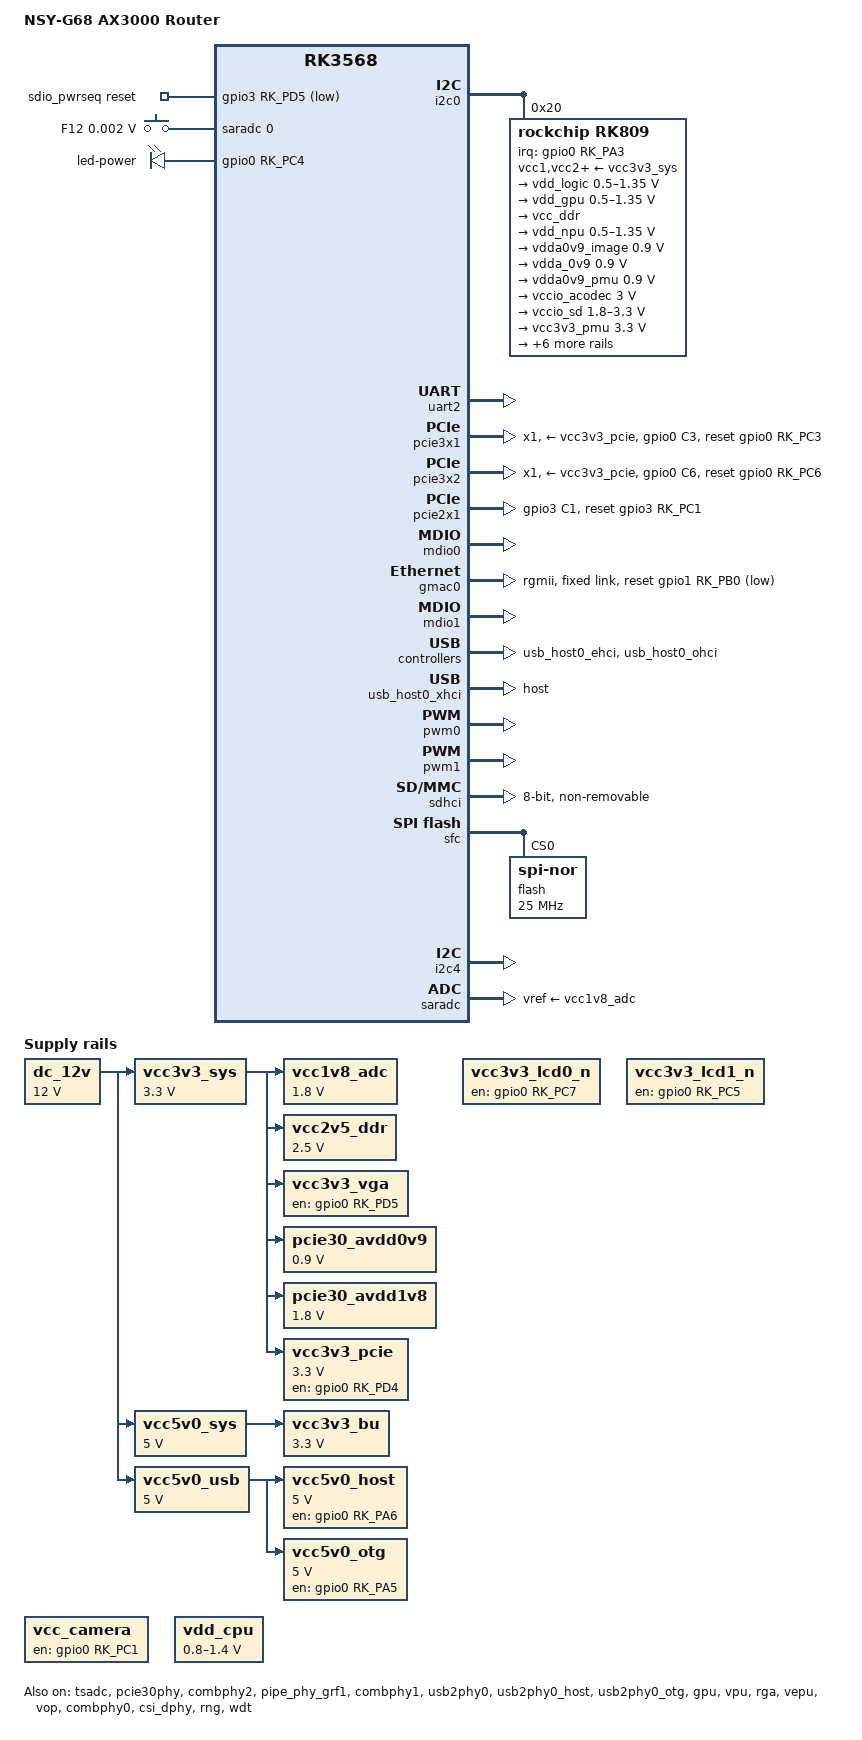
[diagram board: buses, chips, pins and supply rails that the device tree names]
// SPDX-License-Identifier: (GPL-2.0+ OR MIT)

/dts-v1/;

#include <dt-bindings/gpio/gpio.h>
#include <dt-bindings/pwm/pwm.h>
#include <dt-bindings/leds/common.h>
#include <dt-bindings/input/input.h>
#include <dt-bindings/soc/rockchip,vop2.h>
#include <dt-bindings/pinctrl/rockchip.h>
#include "rk3568.dtsi"

/ {
	model = "NSY-G68 AX3000 Router";
	compatible = "nsy,g68-plus", "rockchip,rk3568";

	aliases {
		ethernet0 = &gmac0;
		ethernet1 = &gmac1;
		mmc0 = &sdhci;
	};

	chosen: chosen {
		stdout-path = "serial2:1500000n8";
	};

	fiq-debugger {
		compatible = "rockchip,fiq-debugger";
		rockchip,serial-id = <2>;
		rockchip,wake-irq = <0>;
		/* If enable uart uses irq instead of fiq */
		rockchip,irq-mode-enable = <1>;
		rockchip,baudrate = <1500000>;  /* Only 115200 and 1500000 */
		interrupts = <GIC_SPI 252 IRQ_TYPE_LEVEL_LOW>;
		pinctrl-names = "default";
		pinctrl-0 = <&uart2m0_xfer>;
		status = "okay";
	};

	debug: debug@fd904000 {
		compatible = "rockchip,debug";
		reg = <0x0 0xfd904000 0x0 0x1000>,
			<0x0 0xfd905000 0x0 0x1000>,
			<0x0 0xfd906000 0x0 0x1000>,
			<0x0 0xfd907000 0x0 0x1000>;
	};

	dc_12v: dc-12v {
		compatible = "regulator-fixed";
		regulator-name = "dc_12v";
		regulator-always-on;
		regulator-boot-on;
		regulator-min-microvolt = <12000000>;
		regulator-max-microvolt = <12000000>;
	};

	vcc3v3_sys: vcc3v3-sys {
		compatible = "regulator-fixed";
		regulator-name = "vcc3v3_sys";
		regulator-always-on;
		regulator-boot-on;
		regulator-min-microvolt = <3300000>;
		regulator-max-microvolt = <3300000>;
		vin-supply = <&dc_12v>;
	};

	vcc5v0_sys: vcc5v0-sys {
		compatible = "regulator-fixed";
		regulator-name = "vcc5v0_sys";
		regulator-always-on;
		regulator-boot-on;
		regulator-min-microvolt = <5000000>;
		regulator-max-microvolt = <5000000>;
		vin-supply = <&dc_12v>;
	};

	vcc5v0_usb: vcc5v0-usb {
		compatible = "regulator-fixed";
		regulator-name = "vcc5v0_usb";
		regulator-always-on;
		regulator-boot-on;
		regulator-min-microvolt = <5000000>;
		regulator-max-microvolt = <5000000>;
		vin-supply = <&dc_12v>;
	};

	vcc5v0_host: vcc5v0-host-regulator {
		compatible = "regulator-fixed";
		regulator-name = "vcc5v0_host";
		regulator-boot-on;
		regulator-always-on;
		regulator-min-microvolt = <5000000>;
		regulator-max-microvolt = <5000000>;
		enable-active-high;
		gpio = <&gpio0 RK_PA6 GPIO_ACTIVE_HIGH>;
		vin-supply = <&vcc5v0_usb>;
		pinctrl-names = "default";
		pinctrl-0 = <&vcc5v0_host_en>;
	};

	vcc5v0_otg: vcc5v0-otg-regulator {
		compatible = "regulator-fixed";
		regulator-name = "vcc5v0_otg";
		regulator-min-microvolt = <5000000>;
		regulator-max-microvolt = <5000000>;
		enable-active-high;
		regulator-boot-on;
		regulator-always-on;
		gpio = <&gpio0 RK_PA5 GPIO_ACTIVE_HIGH>;
		vin-supply = <&vcc5v0_usb>;
		pinctrl-names = "default";
		pinctrl-0 = <&vcc5v0_otg_en>;
	};

	vcc3v3_lcd0_n: vcc3v3-lcd0-n {
		compatible = "regulator-fixed";
		regulator-name = "vcc3v3_lcd0_n";
		regulator-boot-on;
		gpio = <&gpio0 RK_PC7 GPIO_ACTIVE_HIGH>;
		enable-active-high;
		pinctrl-0 = <&vcc3v3_lcd0_n_en>;
		pinctrl-names = "default";
		regulator-state-mem {
			regulator-off-in-suspend;
		};

	};

	vcc3v3_lcd1_n: vcc3v3-lcd1-n {
		compatible = "regulator-fixed";
		regulator-name = "vcc3v3_lcd1_n";
		regulator-boot-on;
		gpio = <&gpio0 RK_PC5 GPIO_ACTIVE_HIGH>;
		enable-active-high;
		pinctrl-0 = <&vcc3v3_lcd1_n_en>;
		pinctrl-names = "default";
		regulator-state-mem {
			regulator-off-in-suspend;
		};

	};

	sdio_pwrseq: sdio-pwrseq {
		compatible = "mmc-pwrseq-simple";
		clocks = <&rk809 1>;
		clock-names = "ext_clock";
		pinctrl-names = "default";
		pinctrl-0 = <&wifi_enable_h>;
		post-power-on-delay-ms = <200>;
		reset-gpios = <&gpio3 RK_PD5 GPIO_ACTIVE_LOW>;
	};

	vcc1v8_adc: vcc1v8-adc {
		compatible = "regulator-fixed";
		regulator-name = "vcc1v8_adc";
		regulator-always-on;
		regulator-boot-on;
		regulator-min-microvolt = <1800000>;
		regulator-max-microvolt = <1800000>;
		vin-supply = <&vcc3v3_sys>;
	};

	vcc2v5_ddr: vcc2v5-ddr {
		compatible = "regulator-fixed";
		regulator-name = "vcc2v5-sys";
		regulator-always-on;
		regulator-boot-on;
		regulator-min-microvolt = <2500000>;
		regulator-max-microvolt = <2500000>;
		vin-supply = <&vcc3v3_sys>;
	};

	vcc3v3_vga: vcc3v3-vga {
		compatible = "regulator-fixed";
		regulator-name = "vcc3v3_vga";
		regulator-always-on;
		regulator-boot-on;
		gpio = <&gpio0 RK_PD5 GPIO_ACTIVE_HIGH>;
		pinctrl-0 = <&vcc3v3_vga_en>;
		pinctrl-names = "default";
		enable-active-high;
		vin-supply = <&vcc3v3_sys>;
	};

	pcie30_avdd0v9: pcie30-avdd0v9 {
		compatible = "regulator-fixed";
		regulator-name = "pcie30_avdd0v9";
		regulator-always-on;
		regulator-boot-on;
		regulator-min-microvolt = <900000>;
		regulator-max-microvolt = <900000>;
		vin-supply = <&vcc3v3_sys>;
	};

	pcie30_avdd1v8: pcie30-avdd1v8 {
		compatible = "regulator-fixed";
		regulator-name = "pcie30_avdd1v8";
		regulator-always-on;
		regulator-boot-on;
		regulator-min-microvolt = <1800000>;
		regulator-max-microvolt = <1800000>;
		vin-supply = <&vcc3v3_sys>;
	};

	vcc3v3_pcie: vcc3v3-pcie {
		compatible = "regulator-fixed";
		regulator-name = "vcc3v3_pcie";
		regulator-always-on;
		regulator-boot-on;
		regulator-min-microvolt = <3300000>;
		regulator-max-microvolt = <3300000>;
		enable-active-high;
		gpio = <&gpio0 RK_PD4 GPIO_ACTIVE_HIGH>;
		pinctrl-0 = <&vcc3v3_pcie_en>;
		pinctrl-names = "default";
		startup-delay-us = <5000>;
		vin-supply = <&vcc3v3_sys>;
	};

	vcc3v3_bu: c3v3_buvcc3v3-bu {
		compatible = "regulator-fixed";
		regulator-name = "vcc3v3_bu";
		regulator-always-on;
		regulator-boot-on;
		regulator-min-microvolt = <3300000>;
		regulator-max-microvolt = <3300000>;
		vin-supply = <&vcc5v0_sys>;
	};

	vcc_camera: vcc-camera-regulator {
		compatible = "regulator-fixed";
		gpio = <&gpio0 RK_PC1 GPIO_ACTIVE_HIGH>;
		pinctrl-names = "default";
		pinctrl-0 = <&camera_pwr>;
		regulator-name = "vcc_camera";
		enable-active-high;
		regulator-always-on;
		regulator-boot-on;
	};

	vdd_cpu: vdd-cpu {
		compatible = "pwm-regulator";
		rockchip,pwm_id = <0>;
		rockchip,pwm_voltage = <900000>;
		pwms = <&pwm0 0 25000 1>;
		regulator-name = "vdd_cpu";
		regulator-min-microvolt = <800000>;
		regulator-max-microvolt = <1400000>;
		regulator-init-microvolt = <1150000>;
		regulator-enable-ramp-delay = <300>;
		regulator-ramp-delay = <8000>;
		regulator-always-on;
		regulator-boot-on;
	};

	xpcs: syscon@fda00000 {
		compatible = "rockchip,rk3568-xpcs", "syscon";
		reg = <0x0 0xfda00000 0x0 0x200000>;
		status = "disabled";
	};

	gmac0_xpcsclk: xpcs-gmac0-clock {
		compatible = "fixed-clock";
		clock-frequency = <125000000>;
		clock-output-names = "clk_gmac0_xpcs_mii";
		#clock-cells = <0>;
	};

	gmac1_xpcsclk: xpcs-gmac1-clock {
		compatible = "fixed-clock";
		clock-frequency = <125000000>;
		clock-output-names = "clk_gmac1_xpcs_mii";
		#clock-cells = <0>;
	};

	adc_keys: adc-keys {
		compatible = "adc-keys";
		io-channels = <&saradc 0>;
		io-channel-names = "buttons";
		keyup-threshold-microvolt = <1800000>;
		poll-interval = <100>;
		status = "okay";
		recovery-key {
			label = "F12";
			linux,code = <KEY_F12>;
			press-threshold-microvolt = <1750>;
		};
	};

	leds {
		compatible = "gpio-leds";
		led-power {
			label = "led-power";
			default-state = "on";
			gpios = <&gpio0 RK_PC4 GPIO_ACTIVE_HIGH>;
			pinctrl-names = "default";
			pinctrl-0 = <&led_power_en>;
		};
	};

	rtlgsw@0 {
		compatible = "realtek,rtl8367s";
		realtek,mdio = <&mdio0>;
		mii-bus = <&mdio0>;
		realtek,id = <29>;
		phy-id = <29>;
		cpu_port = <7>;

		//txdelay, rxdelay, mode, ability.force_mode, ability.txpause, ability.rxpause, ability.link, ability.duplex, speed
		//sgmii,
		realtek,extif1 = <0 0 11 1 1 1 1 1 2>;
		//rgmii
		realtek,extif2 = <0 0 1 1 1 1 1 1 2>;
		status = "okay";
	};
};

&i2c0 {

	status = "okay";

	rk809: pmic@20 {
		compatible = "rockchip,rk809";
		reg = <0x20>;
		interrupt-parent = <&gpio0>;
		interrupts = <RK_PA3 IRQ_TYPE_LEVEL_LOW>;
		pinctrl-names = "default", "pmic-sleep", "pmic-power-off", "pmic-reset";
		pinctrl-0 = <&pmic_int>;
		pinctrl-1 = <&soc_slppin_slp &rk817_slppin_slp>;
		pinctrl-2 = <&soc_slppin_gpio &rk817_slppin_pwrdn>;
		pinctrl-3 = <&soc_slppin_gpio &rk817_slppin_rst>;
		rockchip,system-power-controller;
		wakeup-source;
		#clock-cells = <1>;
		clock-output-names = "rk808-clkout1\0rk808-clkout2";
		pmic-reset-func = <0>;
		not-save-power-en = <1>;
		vcc1-supply = <&vcc3v3_sys>;
		vcc2-supply = <&vcc3v3_sys>;
		vcc3-supply = <&vcc3v3_sys>;
		vcc4-supply = <&vcc3v3_sys>;
		vcc5-supply = <&vcc3v3_sys>;
		vcc6-supply = <&vcc3v3_sys>;
		vcc7-supply = <&vcc3v3_sys>;
		vcc8-supply = <&vcc3v3_sys>;
		vcc9-supply = <&vcc3v3_sys>;

		pwrkey {
			status = "okay";
		};

		pinctrl_rk8xx: pinctrl_rk8xx {
			gpio-controller;
			#gpio-cells = <2>;

			rk817_slppin_null: rk817_slppin_null {
				pins = "gpio_slp";
				function = "pin_fun0";
			};

			rk817_slppin_slp: rk817_slppin_slp {
				pins = "gpio_slp";
				function = "pin_fun1";
			};

			rk817_slppin_pwrdn: rk817_slppin_pwrdn {
				pins = "gpio_slp";
				function = "pin_fun2";
			};

			rk817_slppin_rst: rk817_slppin_rst {
				pins = "gpio_slp";
				function = "pin_fun3";
			};
		};

		regulators {

			vdd_logic: DCDC_REG1 {
				regulator-always-on;
				regulator-boot-on;
				regulator-min-microvolt = <500000>;
				regulator-max-microvolt = <1350000>;
				regulator-init-microvolt = <900000>;
				regulator-ramp-delay = <6001>;
				regulator-initial-mode = <2>;
				regulator-name = "vdd_logic";

				regulator-state-mem {
					regulator-off-in-suspend;
				};
			};

			vdd_gpu: DCDC_REG2 {
				regulator-always-on;
				regulator-boot-on;
				regulator-min-microvolt = <500000>;
				regulator-max-microvolt = <1350000>;
				regulator-init-microvolt = <1000000>;
				regulator-ramp-delay = <6001>;
				regulator-initial-mode = <2>;
				regulator-name = "vdd_gpu";

				regulator-state-mem {
					regulator-off-in-suspend;
				};
			};

			vcc_ddr: DCDC_REG3 {
				regulator-always-on;
				regulator-boot-on;
				regulator-initial-mode = <2>;
				regulator-name = "vcc_ddr";

				regulator-state-mem {
					regulator-on-in-suspend;
				};
			};

			vdd_npu: DCDC_REG4 {
				regulator-always-on;
				regulator-boot-on;
				regulator-min-microvolt = <500000>;
				regulator-max-microvolt = <1350000>;
				regulator-init-microvolt = <1000000>;
				regulator-ramp-delay = <6001>;
				regulator-initial-mode = <2>;
				regulator-name = "vdd_npu";

				regulator-state-mem {
					regulator-off-in-suspend;
				};
			};

			vdda0v9_image: LDO_REG1 {
				regulator-boot-on;
				regulator-always-on;
				regulator-min-microvolt = <900000>;
				regulator-max-microvolt = <900000>;
				regulator-name = "vdda0v9_image";

				regulator-state-mem {
					regulator-off-in-suspend;
				};
			};

			vdda_0v9: LDO_REG2 {
				regulator-always-on;
				regulator-boot-on;
				regulator-min-microvolt = <900000>;
				regulator-max-microvolt = <900000>;
				regulator-name = "vdda_0v9";

				regulator-state-mem {
					regulator-off-in-suspend;
				};
			};

			vdda0v9_pmu: LDO_REG3 {
				regulator-always-on;
				regulator-boot-on;
				regulator-min-microvolt = <900000>;
				regulator-max-microvolt = <900000>;
				regulator-name = "vdda0v9_pmu";

				regulator-state-mem {
					regulator-on-in-suspend;
					regulator-suspend-microvolt = <900000>;
				};
			};

			vccio_acodec: LDO_REG4 {
				regulator-always-on;
				regulator-boot-on;
				regulator-min-microvolt = <3000000>;
				regulator-max-microvolt = <3000000>;
				regulator-name = "vccio_acodec";

				regulator-state-mem {
					regulator-off-in-suspend;
				};
			};

			vccio_sd: LDO_REG5 {
				regulator-always-on;
				regulator-boot-on;
				regulator-min-microvolt = <1800000>;
				regulator-max-microvolt = <3300000>;
				regulator-name = "vccio_sd";

				regulator-state-mem {
					regulator-off-in-suspend;
				};
			};

			vcc3v3_pmu: LDO_REG6 {
				regulator-always-on;
				regulator-boot-on;
				regulator-min-microvolt = <3300000>;
				regulator-max-microvolt = <3300000>;
				regulator-name = "vcc3v3_pmu";

				regulator-state-mem {
					regulator-on-in-suspend;
					regulator-suspend-microvolt = <3300000>;
				};
			};

			vcca_1v8: LDO_REG7 {
				regulator-always-on;
				regulator-boot-on;
				regulator-min-microvolt = <1800000>;
				regulator-max-microvolt = <1800000>;
				regulator-name = "vcca_1v8";

				regulator-state-mem {
					regulator-off-in-suspend;
				};
			};

			vcca1v8_pmu: LDO_REG8 {
				regulator-always-on;
				regulator-boot-on;
				regulator-min-microvolt = <1800000>;
				regulator-max-microvolt = <1800000>;
				regulator-name = "vcca1v8_pmu";

				regulator-state-mem {
					regulator-on-in-suspend;
					regulator-suspend-microvolt = <1800000>;
				};
			};

			vcca1v8_image: LDO_REG9 {
				regulator-always-on;
				regulator-boot-on;
				regulator-min-microvolt = <1800000>;
				regulator-max-microvolt = <1800000>;
				regulator-name = "vcca1v8_image";

				regulator-state-mem {
					regulator-off-in-suspend;
				};
			};

			vcc_1v8: DCDC_REG5 {
				regulator-always-on;
				regulator-boot-on;
				regulator-min-microvolt = <1800000>;
				regulator-max-microvolt = <1800000>;
				regulator-name = "vcc_1v8";

				regulator-state-mem {
					regulator-off-in-suspend;
				};
			};

			vcc_3v3: SWITCH_REG1 {
				regulator-always-on;
				regulator-boot-on;
				regulator-name = "vcc_3v3";

				regulator-state-mem {
					regulator-off-in-suspend;
				};
			};

			vcc3v3_sd: SWITCH_REG2 {
				regulator-always-on;
				regulator-boot-on;
				regulator-name = "vcc3v3_sd";

				regulator-state-mem {
					regulator-off-in-suspend;
				};
			};
		};
	};
};

&pinctrl {
	usb {
		vcc5v0_host_en: vcc5v0-host-en {
			rockchip,pins = <0 RK_PA6 RK_FUNC_GPIO &pcfg_pull_none>;
		};
		
		vcc5v0_otg_en: vcc5v0-otg-en {
			rockchip,pins = <0 RK_PA5 RK_FUNC_GPIO &pcfg_pull_none>;
		};
	};

	regulator-en {
		vcc3v3_lcd0_n_en: vcc3v3-lcd0-n-en {
			rockchip,pins = <0 RK_PC7 RK_FUNC_GPIO &pcfg_pull_none>;
		};
		vcc3v3_lcd1_n_en: vcc3v3-lcd1-n-en {
			rockchip,pins = <0 RK_PC5 RK_FUNC_GPIO &pcfg_pull_none>;
		};
		vcc3v3_vga_en: vcc3v3-vga-en {
			rockchip,pins = <0 RK_PD5 RK_FUNC_GPIO &pcfg_pull_none>;
		};
		camera_pwr: camera-pwr {
			rockchip,pins = <0 RK_PC1 RK_FUNC_GPIO &pcfg_pull_none>;
		};
		vcc3v3_pcie_en: vcc3v3-pcie-en {
			rockchip,pins = <0 RK_PD4 RK_FUNC_GPIO &pcfg_pull_none>;
		};
	};

	sdio-pwrseq {
		wifi_enable_h: wifi-enable-h {
			rockchip,pins = <3 RK_PD5 RK_FUNC_GPIO &pcfg_pull_none>;
		};
	};

	pmic {
	
		pmic_int: pmic-intl {
			rockchip,pins = <0 RK_PA3 RK_FUNC_GPIO &pcfg_pull_up>;
		};
	
		soc_slppin_gpio: soc-slppin-gpio {
			rockchip,pins = <0 RK_PA2 0 &pcfg_output_low>;
		};
	
		soc_slppin_slp:soc-slppin-slp {
			rockchip,pins = <0 RK_PA2 1 &pcfg_pull_none>;
		};
	
		soc_slppin_rst {
			rockchip,pins = <0 RK_PA2 2 &pcfg_pull_none>;
		};
	};

	pcie {
		pcie30x1_reset_h: pcie30x1-reset-h {
			rockchip,pins = <0 RK_PC3 RK_FUNC_GPIO &pcfg_pull_none>;
		};
		pcie30x2_reset_h: pcie30x2-reset-h {
			rockchip,pins = <0 RK_PC6 RK_FUNC_GPIO &pcfg_pull_none>;
		};
		pcie2x1_reset_h: pcie2x1-reset-h {
			rockchip,pins = <3 RK_PC1 RK_FUNC_GPIO &pcfg_pull_none>;
		};
	};

	gmac-reset {
		gmac0_reset: gmac0-reset {
			rockchip,pins = <1 RK_PB0 RK_FUNC_GPIO &pcfg_pull_none>;
		};
		gmac1_reset: gmac1-reset {
			rockchip,pins = <1 RK_PB1 RK_FUNC_GPIO &pcfg_pull_none>;
		};
	};

	leds {
		led_power_en: led-power-en {
			rockchip,pins = <0 RK_PC4 RK_FUNC_GPIO &pcfg_pull_none>;
		};
	};
};

&cpu0 {
	cpu-supply = <&vdd_cpu>;
};

&cpu1 {
	cpu-supply = <&vdd_cpu>;
};

&cpu2 {
	cpu-supply = <&vdd_cpu>;
};

&cpu3 {
	cpu-supply = <&vdd_cpu>;
};

&tsadc {
	rockchip,hw-tshut-mode = <1>;
	rockchip,hw-tshut-polarity = <0>;
	status = "okay";
};

&uart2 {
	status = "okay";
};

&pcie30_phy_grf {
};

// 注意两条 pcie reset gpio 均与 NSY不同
// fe270000
// 这里需要更换uboot版本,因为只有支持的pcie拆分的才能启动这个
// 不然开启就挂死,更换版本:https://github.com/Kwiboo/u-boot-rockchip
// https://lists.denx.de/pipermail/u-boot/2023-August/525793.html
// 这个pcie,可能需要打补丁,使用radxa 版本
&pcie3x1 {
		vpcie3v3-supply = <&vcc3v3_pcie>;
		reset-gpios = <&gpio0 RK_PC3 GPIO_ACTIVE_HIGH>;
		num-lanes = <0x1>; /*可能不生效,但是拆分需要打补丁,如果是吧,打补丁*/
		pinctrl-0 = <&pcie30x1_reset_h>;
		status = "okay";
};

//fe280000
&pcie3x2 {
		vpcie3v3-supply = <&vcc3v3_pcie>;
		reset-gpios = <&gpio0 RK_PC6 GPIO_ACTIVE_HIGH>;
		status = "okay";
		num-lanes = <0x1>;
		pinctrl-0 = <&pcie30x2_reset_h>;
};

&pcie30phy {
		data-lanes = <1 2>; //配置lan的通道树
		status = "okay";
};

&combphy2 {
		status = "okay";
};

&pcie2x1 {
		reset-gpios = <&gpio3 RK_PC1 GPIO_ACTIVE_HIGH>;
		pinctrl-0 = <&pcie2x1_reset_h>;
		//for kernel.dts
		rockchip,perst-inactive-ms = <500>;
		status = "okay";
};

&mdio0 {
	status = "okay";
};

&gmac0 {
	status = "okay";
	phy-mode = "rgmii";
	snps,reset-gpio = <&gpio1 RK_PB0 GPIO_ACTIVE_LOW>;
	snps,reset-active-low;
	snps,reset-delays-us = <0 20000 100000>;
	assigned-clocks = <&cru SCLK_GMAC0_RX_TX &cru SCLK_GMAC0>;
	assigned-clock-parents = <&cru SCLK_GMAC0_RGMII_SPEED>;
	assigned-clock-rates = <0 125000000>;
	tx_delay = <0x3f>;
	rx_delay = <0x2c>;
	clock_in_out = "output";
	pinctrl-names = "default";
	pinctrl-0 = <&gmac0_miim &gmac0_tx_bus2 &gmac0_rx_bus2 &gmac0_rgmii_clk &gmac0_rgmii_bus>;
	fixed-link {
		speed = <1000>;
		full-duplex;
	};
};

&mdio1 {
	status = "okay";
};

&pipe_phy_grf1 {
	status = "okay";
};

&combphy1 {
	rockchip,sgmii-mac-sel = <1>;
	status = "okay";
};

&xpcs {
	status = "disabled";
};

&gmac1 {
	status = "disabled";
	phy-mode = "sgmii";
	rockchip,pipegrf = <&pipegrf>;
	rockchip,xpcs = <&xpcs>;
	//snps,reset-gpio = <&gpio2 RK_PC2 GPIO_ACTIVE_LOW>;
	//snps,reset-active-low;
	//snps,reset-delays-us = <0 20000 100000>;
	assigned-clocks = <&cru SCLK_GMAC1_RX_TX>;
	assigned-clock-parents = <&gmac1_xpcsclk>;
	pinctrl-names = "default";
	pinctrl-0 = <&gmac1m1_miim>;
	power-domains = <&power RK3568_PD_PIPE>;
	phys = <&combphy1 PHY_TYPE_SGMII>;
	fixed-link {
		speed = <1000>;
		full-duplex;
	};
};

&usb_host0_ehci {
	status = "okay";
};

&usb_host0_ohci {
	status = "okay";
	snps,dis_enblslpm_quirk;
	snps,dis-u1-entry-quirk;
	snps,dis-u2-entry-quirk;
	snps,dis-u2-freeclk-exists-quirk;
	snps,dis-del-phy-power-chg-quirk;
	snps,dis-tx-ipgap-linecheck-quirk;
	snps,dis_rxdet_inp3_quirk;
	snps,xhci-trb-ent-quirk;
	snps,parkmode-disable-ss-quirk;
	quirk-skip-phy-init;
};

&usb_host0_xhci {
	dr_mode = "host";//自动检测
	//extcon = <&combphy0>;
	status = "okay";
	extcon = <&usb2phy0>; //超过rxda测试
	snps,dis_enblslpm_quirk;
	snps,dis-u1-entry-quirk;
	snps,dis-u2-entry-quirk;
	snps,dis-u2-freeclk-exists-quirk;
	snps,dis-del-phy-power-chg-quirk;
	snps,dis-tx-ipgap-linecheck-quirk;
	snps,dis_rxdet_inp3_quirk;
	snps,xhci-trb-ent-quirk;
	snps,parkmode-disable-ss-quirk;
	quirk-skip-phy-init;
};

&usb_host1_ehci {
	status = "disabled";
};

&usb_host1_ohci {
	status = "disabled";
};

&usb_host1_xhci {
	dr_mode = "host";//自动检测
	snps,dis_enblslpm_quirk;
	snps,dis-u2-freeclk-exists-quirk;
	snps,dis-del-phy-power-chg-quirk;
	snps,dis-tx-ipgap-linecheck-quirk;
	snps,dis_rxdet_inp3_quirk;
	snps,xhci-trb-ent-quirk;
	snps,parkmode-disable-ss-quirk;
	status = "disabled";
};

&usb2phy0 {
	status = "okay";
};

&usb2phy0_host {
	phy-supply = <&vcc5v0_host>;
	status = "okay";
};

&usb2phy0_otg {
	phy-supply = <&vcc5v0_otg>;
	status = "okay";
};

&usb2phy1 {
	status = "disabled";
};

&usb2phy1_host {
	phy-supply = <&vcc5v0_host>;
	status = "disabled";
};

&usb2phy1_otg {
	phy-supply = <&vcc5v0_host>;
	status = "disabled";
};

&sata2 {
	status = "disabled";
};

&pmu_io_domains {
	status = "okay";
	pmuio2-supply = <&vcc3v3_pmu>;
	vccio1-supply = <&vcc_3v3>;
	vccio3-supply = <&vcc_3v3>;
	vccio4-supply = <&vcc_3v3>;
	vccio5-supply = <&vcc_3v3>;
	vccio6-supply = <&vcc_3v3>;
	vccio7-supply = <&vcc_3v3>;
};

&pwm0 {
	status = "okay";
};

&pwm1 {
	status = "okay";
};

&pwm2 {
	status = "disable";
};

&pwm3 {
	status = "disable";
};

&power {
	status = "okay";
};

&gpu {
	mali-supply = <&vdd_gpu>;
	status = "okay";
};

&vpu {
	status = "okay";
};

&rga {
	status = "okay";
};

&vepu {
	status = "okay";
};

&vop {
	status = "okay";
};

//sdhci@fe310000
&sdhci {
	max-frequency = <200000000>;
	bus-width = <8>;
	no-sdio;
	no-sd;
	supports-emmc;
	non-removable;
	mmc-hs200-1_8v;
	pinctrl-names = "default";
	pinctrl-0 = <&emmc_bus8 &emmc_clk &emmc_cmd &emmc_datastrobe>;
	status = "okay";
};

//dwmmc@fe000000
&sdmmc2 {
	max-frequency = <150000000>;
	fifo-depth = <256>;
	no-sd;
	no-mmc;
	bus-width = <4>;
	disable-wp;
	cap-sd-highspeed;
	cap-sdio-irq;
	keep-power-in-suspend;
	sd-uhs-sdr104;
	mmc-pwrseq = <&sdio_pwrseq>;
	non-removable;
	pinctrl-names = "default";
	pinctrl-0 = <&sdmmc2m0_bus4 &sdmmc2m0_cmd &sdmmc2m0_clk>;
	status = "disabled";
};

//dwmmc@fe2b0000
&sdmmc0 {
	max-frequency = <150000000>;
	fifo-depth = <256>;
	no-sdio;
	bus-width = <4>;
	cap-mmc-highspeed;
	cap-sd-highspeed;
	disable-wp;
	sd-uhs-sdr104;
	vmmc-supply = <&vcc3v3_sd>;
	vqmmc-supply = <&vccio_sd>;
	pinctrl-names = "default";
	pinctrl-0 = <&sdmmc0_bus4 &sdmmc0_clk &sdmmc0_cmd &sdmmc0_det>;
	status = "disabled";
};

&combphy0 {
	status = "okay";
};

&csi_dphy {
	status = "okay";
};

&sfc {
	status = "okay";

	flash@0 {
		compatible = "spi-nor";
		reg = <0>;
		spi-max-frequency = <25000000>;
		spi-rx-bus-width = <4>;
		spi-tx-bus-width = <1>;
	};
};

&rng {
	status = "okay";
};

//i2c@fe5a0000
&i2c1 {
	status = "disabled";
};

&i2c4 {
	status = "okay";
};

&i2c5 {
	status = "disabled";
};

&wdt {
	status = "okay";
};

&uart8 {
	status = "disabled";
};

&pwm4 {
	status = "disabled";
};

&pwm5 {
	status = "disabled";
};

&pwm7 {
	status = "disabled";
};

&pwm8 {
	status = "disabled";
};

&pwm9 {
	status = "disabled";
};

//fe720000
&saradc {
	status = "okay";
	vref-supply = <&vcc1v8_adc>;
};
